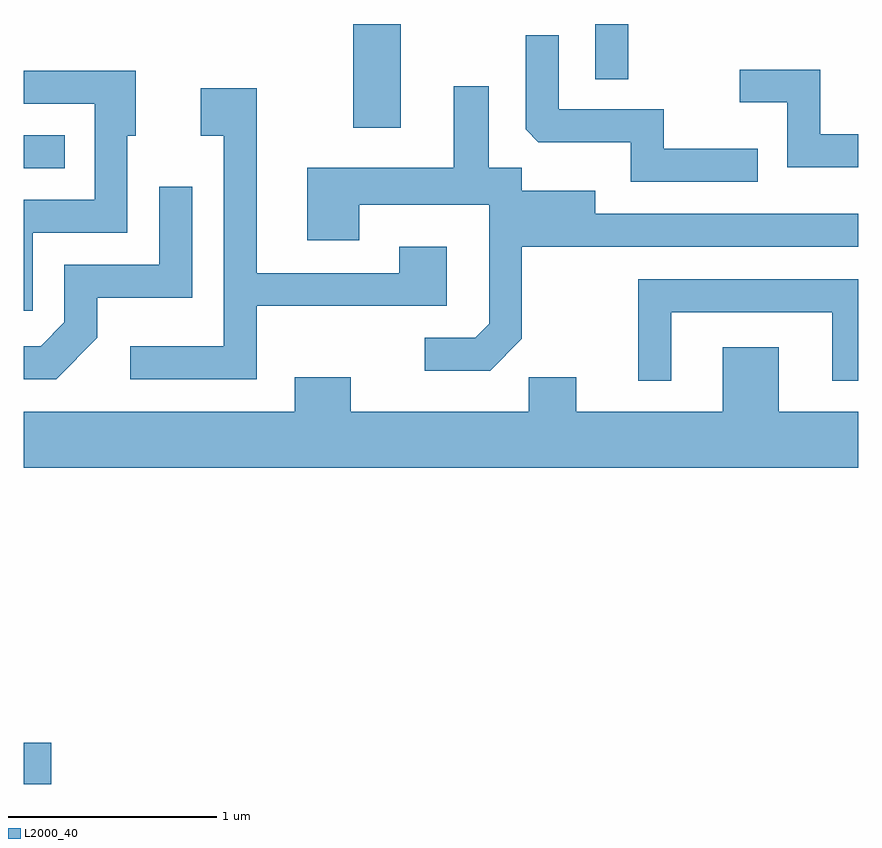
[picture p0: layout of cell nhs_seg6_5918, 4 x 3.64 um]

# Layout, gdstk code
import gdstk
lib = gdstk.Library(unit=1e-6, precision=1e-09)
def R(c, l, rs):  # rectangles x0, y0, x1, y1
    for r in rs: c.add(gdstk.rectangle(r[:2], r[2:], *l))
def P(c, l, *ps):  # polygons
    for p in ps: c.add(gdstk.Polygon(p, *l))
L2000_40 = (2000, 40)

nhs_seg6_5918 = lib.new_cell('nhs_seg6_5918')
R(nhs_seg6_5918, L2000_40, [(365.611,1548.521,365.744,1548.719), (365.611,1551.471,365.808,1551.629), (367.191,1551.666,367.419,1552.162), (368.351,1551.898,368.509,1552.162)])
P(nhs_seg6_5918, L2000_40, [(369.128,1551.564),(368.679,1551.564),(368.679,1551.754),(368.174,1551.754),(368.174,1552.108),(368.016,1552.108),(368.016,1551.657),(368.077,1551.596),(368.521,1551.596),(368.521,1551.406),(369.128,1551.406)],
  [(369.611,1551.634),(369.429,1551.634),(369.429,1551.944),(369.043,1551.944),(369.043,1551.786),(369.271,1551.786),(369.271,1551.476),(369.611,1551.476)],
  [(365.654,1551.161),(366.109,1551.161),(366.109,1551.626),(366.149,1551.626),(366.149,1551.939),(365.611,1551.939),(365.611,1551.781),(365.951,1551.781),(365.951,1551.319),(365.611,1551.319),(365.611,1550.788),(365.654,1550.788)],
  [(367.999,1550.654),(367.999,1551.096),(369.611,1551.096),(369.611,1551.254),(368.349,1551.254),(368.349,1551.364),(367.999,1551.364),(367.999,1551.474),(367.839,1551.474),(367.839,1551.863),(367.671,1551.863),(367.671,1551.474),(366.971,1551.474),(366.971,1551.126),(367.219,1551.126),(367.219,1551.296),(367.841,1551.296),(367.841,1550.727),(367.774,1550.659),(367.533,1550.659),(367.533,1550.501),(367.847,1550.501)],
  [(366.729,1550.811),(367.639,1550.811),(367.639,1551.094),(367.411,1551.094),(367.411,1550.969),(366.729,1550.969),(366.729,1551.854),(366.461,1551.854),(366.461,1551.626),(366.571,1551.626),(366.571,1550.619),(366.123,1550.619),(366.123,1550.461),(366.729,1550.461)],
  [(365.964,1550.659),(365.964,1550.851),(366.419,1550.851),(366.419,1551.383),(366.261,1551.383),(366.261,1551.009),(365.806,1551.009),(365.806,1550.732),(365.694,1550.619),(365.611,1550.619),(365.611,1550.461),(365.767,1550.461)],
  [(368.714,1550.781),(369.486,1550.781),(369.486,1550.453),(369.611,1550.453),(369.611,1550.939),(368.556,1550.939),(368.556,1550.453),(368.714,1550.453)],
  [(369.611,1550.304),(369.229,1550.304),(369.229,1550.614),(368.961,1550.614),(368.961,1550.304),(368.259,1550.304),(368.259,1550.469),(368.031,1550.469),(368.031,1550.304),(367.179,1550.304),(367.179,1550.469),(366.911,1550.469),(366.911,1550.304),(365.611,1550.304),(365.611,1550.036),(369.611,1550.036)])

lib.write_gds('nhs_seg6_5918.gds')
